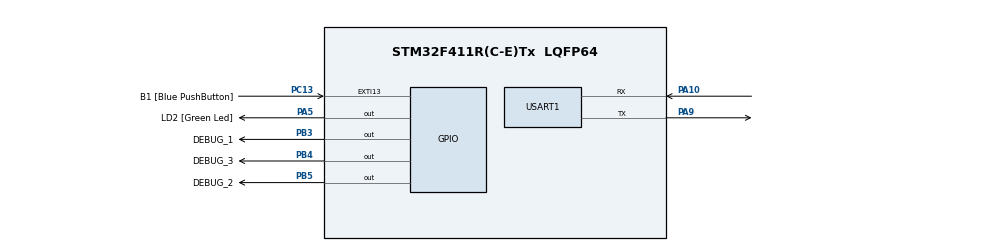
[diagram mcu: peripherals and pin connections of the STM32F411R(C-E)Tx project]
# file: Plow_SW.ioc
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Dma.Request0=USART1_RX
Dma.Request1=USART1_TX
Dma.USART1_RX.0.Direction=DMA_PERIPH_TO_MEMORY
Dma.USART1_RX.0.FIFOMode=DMA_FIFOMODE_DISABLE
Dma.USART1_RX.0.Instance=DMA2_Stream2
Dma.USART1_RX.0.MemDataAlignment=DMA_MDATAALIGN_BYTE
Dma.USART1_RX.0.MemInc=DMA_MINC_ENABLE
Dma.USART1_RX.0.Mode=DMA_NORMAL
Dma.USART1_RX.0.PeriphDataAlignment=DMA_PDATAALIGN_BYTE
Dma.USART1_RX.0.PeriphInc=DMA_PINC_DISABLE
Dma.USART1_RX.0.Priority=DMA_PRIORITY_VERY_HIGH
Dma.USART1_TX.1.Direction=DMA_MEMORY_TO_PERIPH
Dma.USART1_TX.1.FIFOMode=DMA_FIFOMODE_DISABLE
Dma.USART1_TX.1.Instance=DMA2_Stream7
Dma.USART1_TX.1.MemDataAlignment=DMA_MDATAALIGN_BYTE
Dma.USART1_TX.1.MemInc=DMA_MINC_ENABLE
Dma.USART1_TX.1.Mode=DMA_NORMAL
Dma.USART1_TX.1.PeriphDataAlignment=DMA_PDATAALIGN_BYTE
Dma.USART1_TX.1.PeriphInc=DMA_PINC_DISABLE
Dma.USART1_TX.1.Priority=DMA_PRIORITY_LOW
FREERTOS.Tasks01=defaultTask,24,128,StartDefaultTask,Default,NULL,Dynamic,NULL,NULL;iBusRxTask,40,128,StartRxTask,Default,NULL,Dynamic,NULL,NULL;heartbeatTask,8,128,StartHeartbeatTask,Default,NULL,Dynamic,NULL,NULL;encoderSafetyTa,39,128,StartEncoderSafetyTask,Default,NULL,Dynamic,NULL,NULL;motorControlTas,22,128,StartMotorControlTask,Default,NULL,Dynamic,NULL,NULL
FREERTOS.configENABLE_FPU=1
FREERTOS.configUSE_NEWLIB_REENTRANT=1
Mcu.Family=STM32F4
Mcu.Name=STM32F411R(C-E)Tx
Mcu.Package=LQFP64
NVIC.DMA2_Stream2_IRQn=true\:5\:0\:false\:false\:true\:true\:false\:true\:true
NVIC.DMA2_Stream7_IRQn=true\:5\:0\:false\:false\:true\:true\:false\:true\:true
NVIC.PriorityGroup=NVIC_PRIORITYGROUP_4
NVIC.TIM1_UP_TIM10_IRQn=true\:15\:0\:false\:false\:true\:false\:false\:true\:true
NVIC.TimeBase=TIM1_UP_TIM10_IRQn
NVIC.TimeBaseIP=TIM1
NVIC.USART1_IRQn=true\:5\:0\:false\:false\:true\:true\:true\:true\:true
PA10.Mode=Asynchronous
PA10.Signal=USART1_RX
PA13.GPIO_Label=TMS
PA13.Mode=Serial_Wire
PA13.Signal=SYS_JTMS-SWDIO
PA14.GPIO_Label=TCK
PA14.Mode=Serial_Wire
PA14.Signal=SYS_JTCK-SWCLK
PA5.GPIO_Label=LD2 [Green Led]
PA5.Signal=GPIO_Output
PA9.Mode=Asynchronous
PA9.Signal=USART1_TX
PB3.GPIO_Label=DEBUG_1
PB3.Signal=GPIO_Output
PB4.GPIO_Label=DEBUG_3
PB4.Signal=GPIO_Output
PB5.GPIO_Label=DEBUG_2
PB5.Signal=GPIO_Output
PC13-ANTI_TAMP.GPIO_Label=B1 [Blue PushButton]
PC13-ANTI_TAMP.GPIO_ModeDefaultEXTI=GPIO_MODE_IT_FALLING
PC13-ANTI_TAMP.Signal=GPXTI13
PC14-OSC32_IN.Mode=LSE-External-Oscillator
PC14-OSC32_IN.Signal=RCC_OSC32_IN
PC15-OSC32_OUT.Mode=LSE-External-Oscillator
PC15-OSC32_OUT.Signal=RCC_OSC32_OUT
PH0\ -\ OSC_IN.Mode=HSE-External-Clock-Source
PH0\ -\ OSC_IN.Signal=RCC_OSC_IN
PH1\ -\ OSC_OUT.Mode=HSE-External-Clock-Source
PH1\ -\ OSC_OUT.Signal=RCC_OSC_OUT
ProjectManager.HeapSize=0x200
ProjectManager.StackSize=0x400
ProjectManager.TargetToolchain=STM32CubeIDE
RCC.48MHZClocksFreq_Value=50000000
RCC.AHBFreq_Value=100000000
RCC.APB1CLKDivider=RCC_HCLK_DIV2
RCC.APB1Freq_Value=50000000
RCC.APB1TimFreq_Value=100000000
RCC.APB2Freq_Value=100000000
RCC.APB2TimFreq_Value=100000000
RCC.CortexFreq_Value=100000000
RCC.FLatency-AdvancedSettings=FLASH_LATENCY_3
RCC.HCLKFreq_Value=100000000
RCC.HSE_VALUE=8000000
RCC.HSI_VALUE=16000000
RCC.PLLM=8
RCC.PLLN=100
RCC.SYSCLKFreq_VALUE=100000000
RCC.SYSCLKSource=RCC_SYSCLKSOURCE_PLLCLK
RCC.VCOOutputFreq_Value=200000000
USART1.VirtualMode=VM_ASYNC
VP_FREERTOS_VS_CMSIS_V2.Mode=CMSIS_V2
VP_SYS_VS_tim1.Mode=TIM1
board=NUCLEO-F411RE

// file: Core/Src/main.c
/* USER CODE BEGIN Header */
/**
  ******************************************************************************
  * @file           : main.c
  * @brief          : Main program body
  ******************************************************************************
  * @attention
  *
  * Copyright (c) 2022 STMicroelectronics.
  * All rights reserved.
  *
  * This software is licensed under terms that can be found in the LICENSE file
  * in the root directory of this software component.
  * If no LICENSE file comes with this software, it is provided AS-IS.
  *
  ******************************************************************************
  */
/* USER CODE END Header */
#include "main.h"
#include "cmsis_os.h"

/* USER CODE BEGIN Includes */
#include <string.h>
#include <stdint.h>
#include <stdbool.h>

#include "Tasks.h"
/* USER CODE END Includes */

/* Definitions for defaultTask */
osThreadId_t defaultTaskHandle;
const osThreadAttr_t defaultTask_attributes = {
  .name = "defaultTask",
  .stack_size = 128 * 4,
  .priority = (osPriority_t) osPriorityNormal,
};
/* Definitions for iBusRxTask */
osThreadId_t iBusRxTaskHandle;
const osThreadAttr_t iBusRxTask_attributes = {
  .name = "iBusRxTask",
  .stack_size = 128 * 4,
  .priority = (osPriority_t) osPriorityHigh,
};
/* Definitions for heartbeatTask */
osThreadId_t heartbeatTaskHandle;
const osThreadAttr_t heartbeatTask_attributes = {
  .name = "heartbeatTask",
  .stack_size = 128 * 4,
  .priority = (osPriority_t) osPriorityLow,
};
/* Definitions for encoderSafetyTa */
osThreadId_t encoderSafetyTaHandle;
const osThreadAttr_t encoderSafetyTa_attributes = {
  .name = "encoderSafetyTa",
  .stack_size = 128 * 4,
  .priority = (osPriority_t) osPriorityAboveNormal7,
};
/* Definitions for motorControlTas */
osThreadId_t motorControlTasHandle;
const osThreadAttr_t motorControlTas_attributes = {
  .name = "motorControlTas",
  .stack_size = 128 * 4,
  .priority = (osPriority_t) osPriorityBelowNormal6,
};

void SystemClock_Config(void);
static void MX_GPIO_Init(void);
static void MX_DMA_Init(void);
static void MX_USART1_UART_Init(void);

/* CubeMX Wrappers */
void StartRxTask(void *argument);
void StartDefaultTask(void *argument);
void StartHeartbeatTask(void *argument);
void StartEncoderSafetyTask(void *argument);
void StartMotorControlTask(void *argument);

int main(void)
{
  /* USER CODE BEGIN 1 */
	Task_Init();
  /* USER CODE END 1 */

  /* MCU Configuration--------------------------------------------------------*/

  /* Reset of all peripherals, Initializes the Flash interface and the Systick. */
  HAL_Init();

  /* Configure the system clock */
  SystemClock_Config();

  /* Initialize all configured peripherals */
  MX_GPIO_Init();
  MX_DMA_Init();
  MX_USART1_UART_Init();

  /* Init scheduler */
  osKernelInitialize();

  /* Create the thread(s) */
  /* creation of defaultTask */
  defaultTaskHandle = osThreadNew(StartDefaultTask, NULL, &defaultTask_attributes);

  /* creation of iBusRxTask */
  iBusRxTaskHandle = osThreadNew(StartRxTask, NULL, &iBusRxTask_attributes);

  /* creation of heartbeatTask */
  heartbeatTaskHandle = osThreadNew(StartHeartbeatTask, NULL, &heartbeatTask_attributes);

  /* creation of encoderSafetyTa */
  encoderSafetyTaHandle = osThreadNew(StartEncoderSafetyTask, NULL, &encoderSafetyTa_attributes);

  /* creation of motorControlTas */
  motorControlTasHandle = osThreadNew(StartMotorControlTask, NULL, &motorControlTas_attributes);

  /* Start scheduler */
  osKernelStart();

  /* We should never get here as control is now taken by the scheduler */
  /* Infinite loop */
	while (1) {

	}
}

void SystemClock_Config(void)
{
  LL_FLASH_SetLatency(LL_FLASH_LATENCY_3);
  while(LL_FLASH_GetLatency()!= LL_FLASH_LATENCY_3)
  {
  }
  LL_PWR_SetRegulVoltageScaling(LL_PWR_REGU_VOLTAGE_SCALE1);
  LL_RCC_HSI_SetCalibTrimming(16);
  LL_RCC_HSI_Enable();

   /* Wait till HSI is ready */
  while(LL_RCC_HSI_IsReady() != 1)
  {

  }
  LL_RCC_PLL_ConfigDomain_SYS(LL_RCC_PLLSOURCE_HSI, LL_RCC_PLLM_DIV_8, 100, LL_RCC_PLLP_DIV_2);
  LL_RCC_PLL_Enable();

   /* Wait till PLL is ready */
  while(LL_RCC_PLL_IsReady() != 1)
  {

  }
  LL_RCC_SetAHBPrescaler(LL_RCC_SYSCLK_DIV_1);
  LL_RCC_SetAPB1Prescaler(LL_RCC_APB1_DIV_2);
  LL_RCC_SetAPB2Prescaler(LL_RCC_APB2_DIV_1);
  LL_RCC_SetSysClkSource(LL_RCC_SYS_CLKSOURCE_PLL);

   /* Wait till System clock is ready */
  while(LL_RCC_GetSysClkSource() != LL_RCC_SYS_CLKSOURCE_STATUS_PLL)
  {

  }
  LL_SetSystemCoreClock(100000000);

   /* Update the time base */
  if (HAL_InitTick (TICK_INT_PRIORITY) != HAL_OK)
  {
    Error_Handler();
  }
  LL_RCC_SetTIMPrescaler(LL_RCC_TIM_PRESCALER_TWICE);
}

static void MX_USART1_UART_Init(void)
{

  LL_USART_InitTypeDef USART_InitStruct = {0};

  LL_GPIO_InitTypeDef GPIO_InitStruct = {0};

  /* Peripheral clock enable */
  LL_APB2_GRP1_EnableClock(LL_APB2_GRP1_PERIPH_USART1);

  LL_AHB1_GRP1_EnableClock(LL_AHB1_GRP1_PERIPH_GPIOA);
  /**USART1 GPIO Configuration
  PA9   ------> USART1_TX
  PA10   ------> USART1_RX
  */
  GPIO_InitStruct.Pin = LL_GPIO_PIN_9|LL_GPIO_PIN_10;
  GPIO_InitStruct.Mode = LL_GPIO_MODE_ALTERNATE;
  GPIO_InitStruct.Speed = LL_GPIO_SPEED_FREQ_VERY_HIGH;
  GPIO_InitStruct.OutputType = LL_GPIO_OUTPUT_PUSHPULL;
  GPIO_InitStruct.Pull = LL_GPIO_PULL_NO;
  GPIO_InitStruct.Alternate = LL_GPIO_AF_7;
  LL_GPIO_Init(GPIOA, &GPIO_InitStruct);

  /* USART1 DMA Init */

  /* USART1_RX Init */
  LL_DMA_SetChannelSelection(DMA2, LL_DMA_STREAM_2, LL_DMA_CHANNEL_4);

  LL_DMA_SetDataTransferDirection(DMA2, LL_DMA_STREAM_2, LL_DMA_DIRECTION_PERIPH_TO_MEMORY);

  LL_DMA_SetStreamPriorityLevel(DMA2, LL_DMA_STREAM_2, LL_DMA_PRIORITY_VERYHIGH);

  LL_DMA_SetMode(DMA2, LL_DMA_STREAM_2, LL_DMA_MODE_NORMAL);

  LL_DMA_SetPeriphIncMode(DMA2, LL_DMA_STREAM_2, LL_DMA_PERIPH_NOINCREMENT);

  LL_DMA_SetMemoryIncMode(DMA2, LL_DMA_STREAM_2, LL_DMA_MEMORY_INCREMENT);

  LL_DMA_SetPeriphSize(DMA2, LL_DMA_STREAM_2, LL_DMA_PDATAALIGN_BYTE);

  LL_DMA_SetMemorySize(DMA2, LL_DMA_STREAM_2, LL_DMA_MDATAALIGN_BYTE);

  LL_DMA_DisableFifoMode(DMA2, LL_DMA_STREAM_2);

  /* USART1_TX Init */
  LL_DMA_SetChannelSelection(DMA2, LL_DMA_STREAM_7, LL_DMA_CHANNEL_4);

  LL_DMA_SetDataTransferDirection(DMA2, LL_DMA_STREAM_7, LL_DMA_DIRECTION_MEMORY_TO_PERIPH);

  LL_DMA_SetStreamPriorityLevel(DMA2, LL_DMA_STREAM_7, LL_DMA_PRIORITY_LOW);

  LL_DMA_SetMode(DMA2, LL_DMA_STREAM_7, LL_DMA_MODE_NORMAL);

  LL_DMA_SetPeriphIncMode(DMA2, LL_DMA_STREAM_7, LL_DMA_PERIPH_NOINCREMENT);

  LL_DMA_SetMemoryIncMode(DMA2, LL_DMA_STREAM_7, LL_DMA_MEMORY_INCREMENT);

  LL_DMA_SetPeriphSize(DMA2, LL_DMA_STREAM_7, LL_DMA_PDATAALIGN_BYTE);

  LL_DMA_SetMemorySize(DMA2, LL_DMA_STREAM_7, LL_DMA_MDATAALIGN_BYTE);

  LL_DMA_DisableFifoMode(DMA2, LL_DMA_STREAM_7);

  /* USART1 interrupt Init */
  NVIC_SetPriority(USART1_IRQn, NVIC_EncodePriority(NVIC_GetPriorityGrouping(),5, 0));
  NVIC_EnableIRQ(USART1_IRQn);

  /* USER CODE BEGIN USART1_Init 1 */

  NVIC_SetPriority(USART1_IRQn, NVIC_EncodePriority(NVIC_GetPriorityGrouping(), 5, 0));
  NVIC_EnableIRQ(USART1_IRQn);

  NVIC_SetPriority(DMA2_Stream2_IRQn, NVIC_EncodePriority(NVIC_GetPriorityGrouping(), 5, 0));
  NVIC_EnableIRQ(DMA2_Stream2_IRQn);

  NVIC_SetPriority(DMA2_Stream7_IRQn, NVIC_EncodePriority(NVIC_GetPriorityGrouping(), 5, 0));
  NVIC_EnableIRQ(DMA2_Stream7_IRQn);

  NVIC_SetPriority(USART1_IRQn, NVIC_EncodePriority(NVIC_GetPriorityGrouping(), 5, 0));
  NVIC_EnableIRQ(USART1_IRQn);

  NVIC_SetPriority(DMA2_Stream2_IRQn, NVIC_EncodePriority(NVIC_GetPriorityGrouping(), 5, 0));
  NVIC_EnableIRQ(DMA2_Stream2_IRQn);

  NVIC_SetPriority(DMA2_Stream7_IRQn, NVIC_EncodePriority(NVIC_GetPriorityGrouping(), 5, 0));
  NVIC_EnableIRQ(DMA2_Stream7_IRQn);

  /* USER CODE END USART1_Init 1 */
  USART_InitStruct.BaudRate = 115200;
  USART_InitStruct.DataWidth = LL_USART_DATAWIDTH_8B;
  USART_InitStruct.StopBits = LL_USART_STOPBITS_1;
  USART_InitStruct.Parity = LL_USART_PARITY_NONE;
  USART_InitStruct.TransferDirection = LL_USART_DIRECTION_TX_RX;
  USART_InitStruct.HardwareFlowControl = LL_USART_HWCONTROL_NONE;
  USART_InitStruct.OverSampling = LL_USART_OVERSAMPLING_16;
  LL_USART_Init(USART1, &USART_InitStruct);
  LL_USART_ConfigAsyncMode(USART1);
  LL_USART_Enable(USART1);
  /* USER CODE BEGIN USART1_Init 2 */
	LL_DMA_EnableIT_HT(DMA2, LL_DMA_STREAM_2);
	LL_DMA_EnableIT_TC(DMA2, LL_DMA_STREAM_2);

	LL_DMA_EnableIT_TC(DMA2, LL_DMA_STREAM_7);
	LL_DMA_EnableIT_TE(DMA2, LL_DMA_STREAM_7);
	LL_DMA_EnableIT_TC(DMA2, LL_DMA_STREAM_2);
	LL_DMA_EnableIT_TE(DMA2, LL_DMA_STREAM_2);

	LL_USART_EnableDMAReq_RX(USART1);
	LL_USART_EnableDMAReq_TX(USART1);
	LL_USART_EnableIT_IDLE(USART1);
	LL_USART_Enable(USART1);
	//LL_DMA_EnableStream(DMA2, LL_DMA_STREAM_7);
	LL_DMA_EnableStream(DMA2, LL_DMA_STREAM_2);
  /* USER CODE END USART1_Init 2 */

}

static void MX_DMA_Init(void)
{

  /* Init with LL driver */
  /* DMA controller clock enable */
  LL_AHB1_GRP1_EnableClock(LL_AHB1_GRP1_PERIPH_DMA2);

  /* DMA interrupt init */
  /* DMA2_Stream2_IRQn interrupt configuration */
  NVIC_SetPriority(DMA2_Stream2_IRQn, NVIC_EncodePriority(NVIC_GetPriorityGrouping(),5, 0));
  NVIC_EnableIRQ(DMA2_Stream2_IRQn);
  /* DMA2_Stream7_IRQn interrupt configuration */
  NVIC_SetPriority(DMA2_Stream7_IRQn, NVIC_EncodePriority(NVIC_GetPriorityGrouping(),5, 0));
  NVIC_EnableIRQ(DMA2_Stream7_IRQn);

}

static void MX_GPIO_Init(void)
{
  LL_EXTI_InitTypeDef EXTI_InitStruct = {0};
  LL_GPIO_InitTypeDef GPIO_InitStruct = {0};

  /* GPIO Ports Clock Enable */
  LL_AHB1_GRP1_EnableClock(LL_AHB1_GRP1_PERIPH_GPIOC);
  LL_AHB1_GRP1_EnableClock(LL_AHB1_GRP1_PERIPH_GPIOH);
  LL_AHB1_GRP1_EnableClock(LL_AHB1_GRP1_PERIPH_GPIOA);
  LL_AHB1_GRP1_EnableClock(LL_AHB1_GRP1_PERIPH_GPIOB);

  /**/
  LL_GPIO_ResetOutputPin(LD2_GPIO_Port, LD2_Pin);

  /**/
  LL_GPIO_ResetOutputPin(GPIOB, DEBUG_1_Pin|DEBUG_3_Pin|DEBUG_2_Pin);

  /**/
  LL_SYSCFG_SetEXTISource(LL_SYSCFG_EXTI_PORTC, LL_SYSCFG_EXTI_LINE13);

  /**/
  EXTI_InitStruct.Line_0_31 = LL_EXTI_LINE_13;
  EXTI_InitStruct.LineCommand = ENABLE;
  EXTI_InitStruct.Mode = LL_EXTI_MODE_IT;
  EXTI_InitStruct.Trigger = LL_EXTI_TRIGGER_FALLING;
  LL_EXTI_Init(&EXTI_InitStruct);

  /**/
  LL_GPIO_SetPinPull(B1_GPIO_Port, B1_Pin, LL_GPIO_PULL_NO);

  /**/
  LL_GPIO_SetPinMode(B1_GPIO_Port, B1_Pin, LL_GPIO_MODE_INPUT);

  /**/
  GPIO_InitStruct.Pin = LD2_Pin;
  GPIO_InitStruct.Mode = LL_GPIO_MODE_OUTPUT;
  GPIO_InitStruct.Speed = LL_GPIO_SPEED_FREQ_LOW;
  GPIO_InitStruct.OutputType = LL_GPIO_OUTPUT_PUSHPULL;
  GPIO_InitStruct.Pull = LL_GPIO_PULL_NO;
  LL_GPIO_Init(LD2_GPIO_Port, &GPIO_InitStruct);

  /**/
  GPIO_InitStruct.Pin = DEBUG_1_Pin|DEBUG_3_Pin|DEBUG_2_Pin;
  GPIO_InitStruct.Mode = LL_GPIO_MODE_OUTPUT;
  GPIO_InitStruct.Speed = LL_GPIO_SPEED_FREQ_LOW;
  GPIO_InitStruct.OutputType = LL_GPIO_OUTPUT_PUSHPULL;
  GPIO_InitStruct.Pull = LL_GPIO_PULL_NO;
  LL_GPIO_Init(GPIOB, &GPIO_InitStruct);

}

void StartDefaultTask(void *argument)
{
  /* USER CODE BEGIN 5 */
  /* Infinite loop */
	Task_RunDefault(argument);
  /* USER CODE END 5 */
}

void StartRxTask(void *argument)
{
  /* USER CODE BEGIN StartRxTask */
  /* Infinite loop */
	Task_RunRx(argument);
  /* USER CODE END StartRxTask */
}

void StartHeartbeatTask(void *argument)
{
  /* USER CODE BEGIN StartHeartbeatTask */
	Task_RunHeartbeat(argument);
  /* USER CODE END StartHeartbeatTask */
}

void StartEncoderSafetyTask(void *argument)
{
  /* USER CODE BEGIN StartEncoderSafetyTask */
  /* Infinite loop */
	Task_RunEncoder(argument);
  /* USER CODE END StartEncoderSafetyTask */
}

void StartMotorControlTask(void *argument)
{
  /* USER CODE BEGIN StartMotorControlTask */
  /* Infinite loop */
	Task_RunMotorControl(argument);
  /* USER CODE END StartMotorControlTask */
}

void HAL_TIM_PeriodElapsedCallback(TIM_HandleTypeDef *htim)
{
  if (htim->Instance == TIM1) {
    HAL_IncTick();
  }
}

void Error_Handler(void)
{
  __disable_irq();
  while (1)
  {
  }
}
